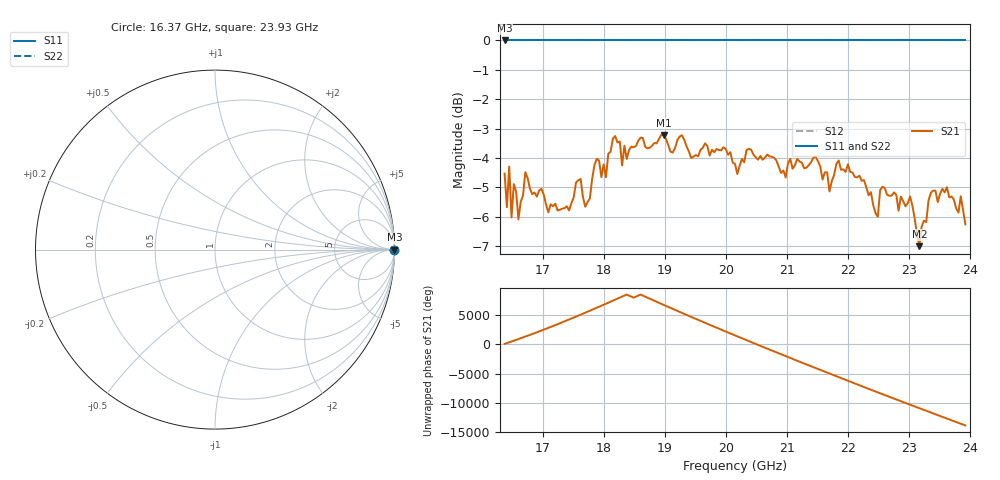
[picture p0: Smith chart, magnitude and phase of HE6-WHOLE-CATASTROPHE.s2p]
!Agilent N9918A: A.07.57
!Date: Thursday, 22 August 2019 17:56:44
!Timezone: (GMT-08:00) Pacific Time (US & Canada)
!Model: N9918A
!Serial: MY53103598
!GPS Latitude:
!GPS Longitude:
!GPS TimeStamp: 0001-01-01 00:00:00Z
!GPS Seconds Since Last Read: 0
!CHECKSUM:1413662048
!Correction: S11()S21(Rdy)S12()S22()
!S2P File: Measurements:S11,S21,S12,S22:
# Hz S DB R 50
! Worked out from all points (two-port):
!   201 points, 16.37 GHz to 23.93 GHz, reference 50 ohm
!   highest |S21| = -3.21 dB at 18.98 GHz (marker M1); lowest = -7.0 dB at 23.17 GHz (marker M2)
!   |S21| within 3 dB of the highest: start of sweep to 23.11 GHz; 23.23 GHz to 23.93 GHz (690.7 MHz wide, 2.93 % of centre)
!   lowest |S11| = 0.0 dB at 16.37 GHz (marker M3)
!   |S11| at or under -10 dB: nowhere
!   |S22| runs from 0.0 to 0.0 dB; largest |S21 - S12| = 1.7
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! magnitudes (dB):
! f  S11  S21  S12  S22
! 16.37 GHz  0.0  -4.5  0.0  0.0
! 16.41 GHz  0.0  -5.7  0.0  0.0
! 16.45 GHz  0.0  -4.3  0.0  0.0
! 16.49 GHz  0.0  -6.0  0.0  0.0
! 16.52 GHz  0.0  -4.9  0.0  0.0
! 16.6 GHz  0.0  -6.1  0.0  0.0
! 16.71 GHz  0.0  -4.5  0.0  0.0
! 17.09 GHz  0.0  -5.9  0.0  0.0
! 17.66 GHz  0.0  -5.3  0.0  0.0
! 18.19 GHz  0.0  -3.3  0.0  0.0
! 18.3 GHz  0.0  -4.3  0.0  0.0
! 18.9 GHz  0.0  -3.4  0.0  0.0
! 18.98 GHz  0.0  -3.2  0.0  0.0
! 20.19 GHz  0.0  -4.5  0.0  0.0
! 21.44 GHz  0.0  -4.0  0.0  0.0
! 22 GHz  0.0  -4.2  0.0  0.0
! 22.49 GHz  0.0  -6.0  0.0  0.0
! 22.68 GHz  0.0  -5.3  0.0  0.0
! 23.02 GHz  0.0  -5.3  0.0  0.0
! 23.17 GHz  0.0  -7.0  0.0  0.0
! 23.4 GHz  0.0  -5.1  0.0  0.0
! 23.93 GHz  0.0  -6.3  0.0  0.0
